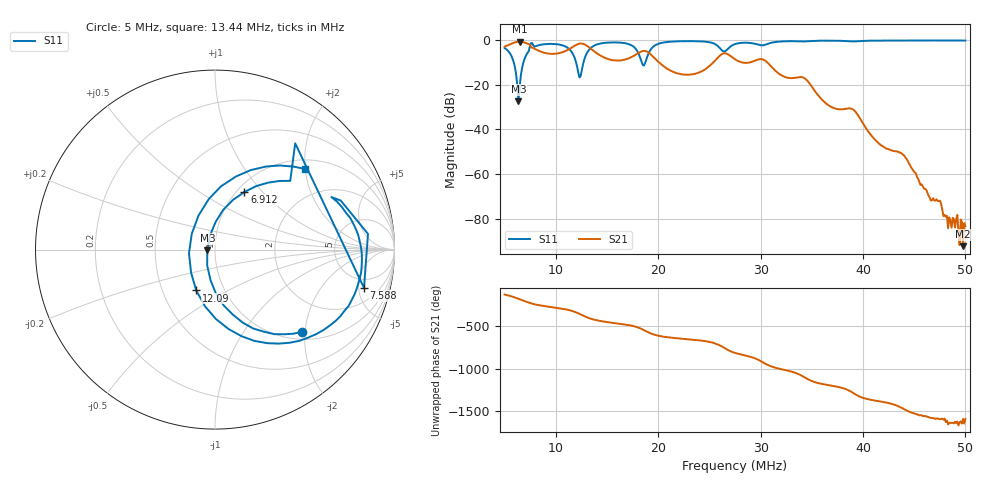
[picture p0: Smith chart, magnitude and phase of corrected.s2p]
! S11/S21 only; reverse parameters are placeholders. Device calibration unverified.
! [Saver CAL applied] C:\Users\aknya\MyProjects\rf-simulator\calibration2.cal | Ideal standards assumed | Input: NanoVNA F V2 profile | COM3 | 2026-09-08T11:55:15.0259813-04:00 | device calibration unverified
# HZ S RI R 50
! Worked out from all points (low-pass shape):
!   401 points, 5 MHz to 50 MHz, reference 50 ohm
!   highest |S21| = -0.67 dB at 6.463 MHz (marker M1); lowest = -92.3 dB at 49.77 MHz (marker M2)
!   |S21| within 3 dB of the highest: start of sweep to 7.844 MHz; 11.43 MHz to 13.37 MHz (1.936 MHz wide, 15.6 % of centre)
!   lowest |S11| = -27.3 dB at 6.35 MHz (marker M3), VSWR 1.09, Z = 45.9 - j0.359 ohm
!   |S11| at or under -10 dB: 5.897 MHz to 6.838 MHz (941.4 kHz wide, 14.8 % of centre); 11.98 MHz to 12.71 MHz (723.8 kHz wide, 5.86 % of centre); 18.39 MHz to 18.74 MHz (349.6 kHz wide, 1.88 % of centre)
!   S12 and S22 are empty: the file has one direction only
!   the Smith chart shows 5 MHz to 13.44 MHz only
!   S11 on the Smith chart (normalised r, x): 5 MHz: 1.17, -1.92; 6.912 MHz: 1.09, +0.80; 7.588 MHz: 3.56, -5.74; 12.09 MHz: 0.74, -0.36; 13.44 MHz: 1.22, +2.01
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5000000  0.484 -0.4579  -0.4572 -0.5479  0 0  0 0
6350000  -0.0428 -0.0039  -0.9226 -0.0031  0 0  0 0
6462500  -0.0281 0.0788  -0.9223 0.0809  0 0  0 0
6912500  0.1643 0.3212  -0.8012 0.3851  0 0  0 0
7587500  0.8302 -0.2137  -0.4248 0.5503  0 0  0 0
1.0175e7  0.7449 -0.313  0.1536 0.4794  0 0  0 0
1.20875e7  -0.1046 -0.2277  0.7723 0.2172  0 0  0 0
1.25375e7  -0.0919 0.1893  0.8239 -0.1417  0 0  0 0
1.34375e7  0.5042 0.4492  0.3679 -0.5207  0 0  0 0
1.5575e7  0.8768 -0.1484  -0.076 -0.3468  0 0  0 0
1.76e7  0.3305 -0.6298  -0.3455 -0.2772  0 0  0 0
1.86125e7  -0.254 0.0934  -0.5677 0.0797  0 0  0 0
1.9175e7  0.1896 0.5348  -0.3739 0.3321  0 0  0 0
2.0075e7  0.7436 0.3798  -0.0803 0.3069  0 0  0 0
2.3225e7  0.9164 -0.2454  0.0811 0.1493  0 0  0 0
2.615e7  0.4848 -0.3746  0.456 -0.1284  0 0  0 0
2.75e7  0.7764 -0.2429  -0.0358 -0.3701  0 0  0 0
3.07625e7  0.7481 -0.3675  -0.1468 0.2604  0 0  0 0
3.50375e7  0.6994 -0.6498  0.0337 -0.0818  0 0  0 0
4.2575e7  0.4402 -0.8718  0.00301 0.0019  0 0  0 0
4.9775e7  0.1644 -0.9663  -2.11e-05 -1.2e-05  0 0  0 0
5e7  0.1576 -0.9646  -6.11e-05 -3.01e-05  0 0  0 0
